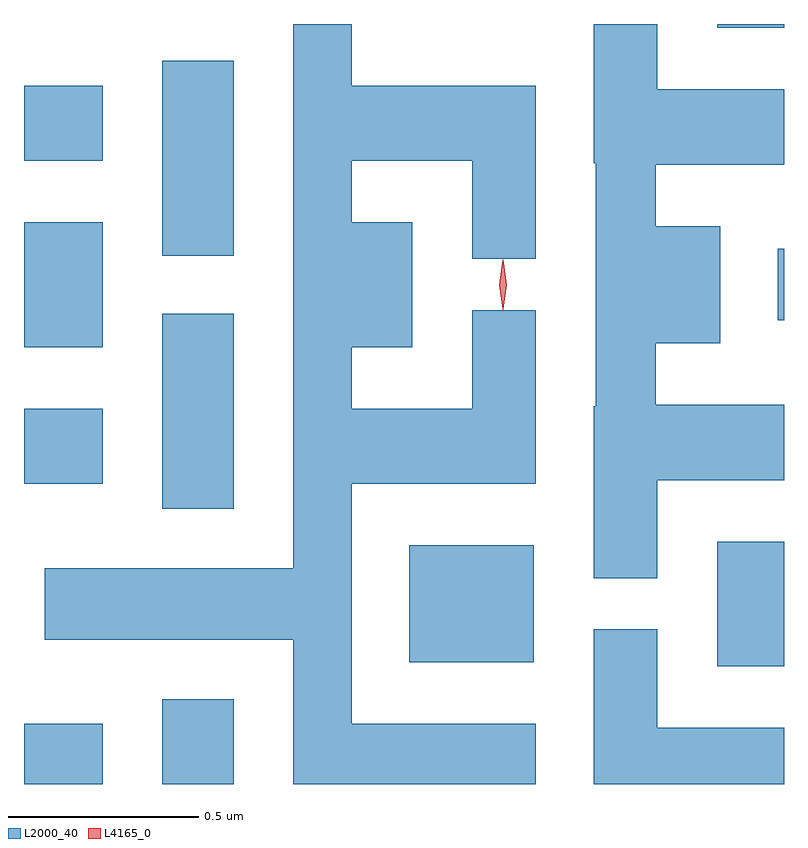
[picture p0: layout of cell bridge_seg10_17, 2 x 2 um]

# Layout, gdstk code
import gdstk
lib = gdstk.Library(unit=1e-6, precision=1e-09)
def R(c, l, rs):  # rectangles x0, y0, x1, y1
    for r in rs: c.add(gdstk.rectangle(r[:2], r[2:], *l))
def P(c, l, *ps):  # polygons
    for p in ps: c.add(gdstk.Polygon(p, *l))
L2000_40 = (2000, 40)
L4165_0 = (4165, 0)

bridge_seg10_17 = lib.new_cell('bridge_seg10_17')
R(bridge_seg10_17, L2000_40, [(1911.532,2154.416,1911.739,2154.574), (1911.896,2154.416,1912.084,2154.639), (1913.356,2154.726,1913.532,2155.054), (1912.546,2154.736,1912.874,2155.044), (1911.896,2155.141,1912.084,2155.654), (1911.532,2155.206,1911.739,2155.404), (1911.532,2155.566,1911.739,2155.894), (1913.516,2155.636,1913.532,2155.824), (1911.896,2155.806,1912.084,2156.319), (1911.532,2156.056,1911.739,2156.254), (1913.356,2156.406,1913.532,2156.416)])
P(bridge_seg10_17, L2000_40, [(1912.879,2154.574),(1912.394,2154.574),(1912.394,2155.206),(1912.879,2155.206),(1912.879,2155.663),(1912.711,2155.663),(1912.711,2155.404),(1912.394,2155.404),(1912.394,2155.566),(1912.554,2155.566),(1912.554,2155.894),(1912.394,2155.894),(1912.394,2156.056),(1912.711,2156.056),(1912.711,2155.798),(1912.879,2155.798),(1912.879,2156.254),(1912.394,2156.254),(1912.394,2156.416),(1912.241,2156.416),(1912.241,2154.984),(1911.586,2154.984),(1911.586,2154.796),(1912.241,2154.796),(1912.241,2154.416),(1912.879,2154.416)],
  [(1913.199,2155.216),(1913.532,2155.216),(1913.532,2155.414),(1913.194,2155.414),(1913.194,2155.576),(1913.364,2155.576),(1913.364,2155.884),(1913.194,2155.884),(1913.194,2156.046),(1913.532,2156.046),(1913.532,2156.244),(1913.199,2156.244),(1913.199,2156.416),(1913.031,2156.416),(1913.031,2156.05),(1913.036,2156.05),(1913.036,2155.41),(1913.031,2155.41),(1913.031,2154.958),(1913.199,2154.958)],
  [(1913.532,2154.564),(1913.199,2154.564),(1913.199,2154.823),(1913.031,2154.823),(1913.031,2154.416),(1913.532,2154.416)])
P(bridge_seg10_17, L4165_0, [(1912.793,2155.664),(1912.792,2155.665),(1912.783,2155.73),(1912.792,2155.795),(1912.793,2155.796),(1912.793,2155.795),(1912.803,2155.73),(1912.793,2155.665)],
  [(1912.793,2155.667),(1912.792,2155.668),(1912.783,2155.73),(1912.792,2155.792),(1912.793,2155.793),(1912.793,2155.792),(1912.803,2155.73),(1912.793,2155.668)])

lib.write_gds('bridge_seg10_17.gds')
